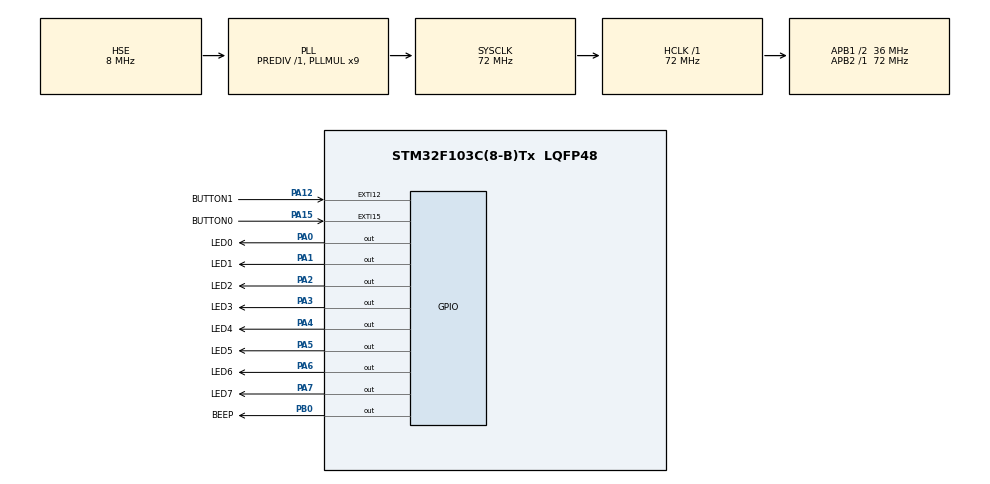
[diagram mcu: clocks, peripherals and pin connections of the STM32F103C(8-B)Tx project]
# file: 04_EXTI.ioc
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Mcu.Family=STM32F1
Mcu.Name=STM32F103C(8-B)Tx
Mcu.Package=LQFP48
NVIC.EXTI15_10_IRQn=true\:2\:0\:true\:false\:true\:true\:true\:true
NVIC.PriorityGroup=NVIC_PRIORITYGROUP_4
PA0-WKUP.GPIO_Label=LED0
PA0-WKUP.GPIO_ModeDefaultOutputPP=GPIO_MODE_OUTPUT_PP
PA0-WKUP.GPIO_PuPd=GPIO_PULLUP
PA0-WKUP.PinState=GPIO_PIN_SET
PA0-WKUP.Signal=GPIO_Output
PA1.GPIO_Label=LED1
PA1.GPIO_ModeDefaultOutputPP=GPIO_MODE_OUTPUT_PP
PA1.GPIO_PuPd=GPIO_PULLUP
PA1.GPIO_Speed=GPIO_SPEED_FREQ_LOW
PA1.PinState=GPIO_PIN_SET
PA1.Signal=GPIO_Output
PA12.GPIO_Label=BUTTON1
PA12.GPIO_ModeDefaultEXTI=GPIO_MODE_IT_FALLING
PA12.GPIO_PuPd=GPIO_PULLUP
PA12.Signal=GPXTI12
PA13.Mode=Serial_Wire
PA13.Signal=SYS_JTMS-SWDIO
PA14.Mode=Serial_Wire
PA14.Signal=SYS_JTCK-SWCLK
PA15.GPIO_Label=BUTTON0
PA15.GPIO_ModeDefaultEXTI=GPIO_MODE_IT_FALLING
PA15.GPIO_PuPd=GPIO_PULLUP
PA15.Signal=GPXTI15
PA2.GPIO_Label=LED2
PA2.GPIO_ModeDefaultOutputPP=GPIO_MODE_OUTPUT_PP
PA2.GPIO_PuPd=GPIO_PULLUP
PA2.GPIO_Speed=GPIO_SPEED_FREQ_LOW
PA2.PinState=GPIO_PIN_SET
PA2.Signal=GPIO_Output
PA3.GPIO_Label=LED3
PA3.GPIO_ModeDefaultOutputPP=GPIO_MODE_OUTPUT_PP
PA3.GPIO_PuPd=GPIO_PULLUP
PA3.GPIO_Speed=GPIO_SPEED_FREQ_LOW
PA3.PinState=GPIO_PIN_SET
PA3.Signal=GPIO_Output
PA4.GPIO_Label=LED4
PA4.GPIO_ModeDefaultOutputPP=GPIO_MODE_OUTPUT_PP
PA4.GPIO_PuPd=GPIO_PULLUP
PA4.GPIO_Speed=GPIO_SPEED_FREQ_LOW
PA4.PinState=GPIO_PIN_SET
PA4.Signal=GPIO_Output
PA5.GPIO_Label=LED5
PA5.GPIO_ModeDefaultOutputPP=GPIO_MODE_OUTPUT_PP
PA5.GPIO_PuPd=GPIO_PULLUP
PA5.GPIO_Speed=GPIO_SPEED_FREQ_LOW
PA5.PinState=GPIO_PIN_SET
PA5.Signal=GPIO_Output
PA6.GPIO_Label=LED6
PA6.GPIO_ModeDefaultOutputPP=GPIO_MODE_OUTPUT_PP
PA6.GPIO_PuPd=GPIO_PULLUP
PA6.GPIO_Speed=GPIO_SPEED_FREQ_LOW
PA6.PinState=GPIO_PIN_SET
PA6.Signal=GPIO_Output
PA7.GPIO_Label=LED7
PA7.GPIO_ModeDefaultOutputPP=GPIO_MODE_OUTPUT_PP
PA7.GPIO_PuPd=GPIO_PULLUP
PA7.GPIO_Speed=GPIO_SPEED_FREQ_LOW
PA7.PinState=GPIO_PIN_SET
PA7.Signal=GPIO_Output
PB0.GPIO_Label=BEEP
PB0.GPIO_PuPd=GPIO_PULLDOWN
PB0.Signal=GPIO_Output
PC14-OSC32_IN.Mode=LSE-External-Oscillator
PC14-OSC32_IN.Signal=RCC_OSC32_IN
PC15-OSC32_OUT.Mode=LSE-External-Oscillator
PC15-OSC32_OUT.Signal=RCC_OSC32_OUT
PD0-OSC_IN.Mode=HSE-External-Oscillator
PD0-OSC_IN.Signal=RCC_OSC_IN
PD1-OSC_OUT.Mode=HSE-External-Oscillator
PD1-OSC_OUT.Signal=RCC_OSC_OUT
ProjectManager.HeapSize=0x200
ProjectManager.StackSize=0x400
ProjectManager.TargetToolchain=STM32CubeIDE
RCC.AHBFreq_Value=72000000
RCC.APB1CLKDivider=RCC_HCLK_DIV2
RCC.APB1Freq_Value=36000000
RCC.APB1TimFreq_Value=72000000
RCC.APB2Freq_Value=72000000
RCC.APB2TimFreq_Value=72000000
RCC.HCLKFreq_Value=72000000
RCC.PLLMUL=RCC_PLL_MUL9
RCC.PLLSourceVirtual=RCC_PLLSOURCE_HSE
RCC.SYSCLKFreq_VALUE=72000000
RCC.SYSCLKSource=RCC_SYSCLKSOURCE_PLLCLK
RCC.USBFreq_Value=72000000
board=custom

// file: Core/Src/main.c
/* USER CODE BEGIN Header */
/**
  ******************************************************************************
  * @file           : main.c
  * @brief          : Main program body
  ******************************************************************************
  * @attention
  *
  * Copyright (c) 2025 STMicroelectronics.
  * All rights reserved.
  *
  * This software is licensed under terms that can be found in the LICENSE file
  * in the root directory of this software component.
  * If no LICENSE file comes with this software, it is provided AS-IS.
  *
  ******************************************************************************
  */
/* USER CODE END Header */
#include "main.h"
#include "gpio.h"

/* USER CODE BEGIN Includes */
#include "led.h"
#include "../../BSP/BEEP/beep.h"
#include "../../BSP/BUTTON/button.h"
/* USER CODE END Includes */

/* USER CODE BEGIN PD */
uint8_t button_down = 0;
/* USER CODE END PD */

void SystemClock_Config(void);

/* USER CODE BEGIN 0 */
void HAL_GPIO_EXTI_Callback(uint16_t GPIO_Pin){
	//HAL_Delay(10);
	switch(GPIO_Pin)
	{
	case BUTTON0_Pin:
		if(BUTTON0 == GPIO_PIN_RESET)
		{
			HAL_GPIO_TogglePin(LED0_GPIO_Port, LED0_Pin);
			break;
		}
	case BUTTON1_Pin:
		if(BUTTON1 == GPIO_PIN_RESET)
		{
			HAL_GPIO_TogglePin(LED1_GPIO_Port, LED1_Pin);
			break;
		}
	HAL_GPIO_TogglePin(LED2_GPIO_Port, LED2_Pin);
	}

}
/* USER CODE END 0 */

int main(void)
{

  /* MCU Configuration--------------------------------------------------------*/

  /* Reset of all peripherals, Initializes the Flash interface and the Systick. */
  HAL_Init();

  /* Configure the system clock */
  SystemClock_Config();

  /* Initialize all configured peripherals */
  MX_GPIO_Init();

  /* Infinite loop */
  while (1)
  {

    /* USER CODE BEGIN 3 */
	  //HAL_Delay(1000);
  }
  /* USER CODE END 3 */
}

void SystemClock_Config(void)
{
  RCC_OscInitTypeDef RCC_OscInitStruct = {0};
  RCC_ClkInitTypeDef RCC_ClkInitStruct = {0};

  /** Initializes the RCC Oscillators according to the specified parameters
  * in the RCC_OscInitTypeDef structure.
  */
  RCC_OscInitStruct.OscillatorType = RCC_OSCILLATORTYPE_HSE;
  RCC_OscInitStruct.HSEState = RCC_HSE_ON;
  RCC_OscInitStruct.HSEPredivValue = RCC_HSE_PREDIV_DIV1;
  RCC_OscInitStruct.HSIState = RCC_HSI_ON;
  RCC_OscInitStruct.PLL.PLLState = RCC_PLL_ON;
  RCC_OscInitStruct.PLL.PLLSource = RCC_PLLSOURCE_HSE;
  RCC_OscInitStruct.PLL.PLLMUL = RCC_PLL_MUL9;
  if (HAL_RCC_OscConfig(&RCC_OscInitStruct) != HAL_OK)
  {
    Error_Handler();
  }

  /** Initializes the CPU, AHB and APB buses clocks
  */
  RCC_ClkInitStruct.ClockType = RCC_CLOCKTYPE_HCLK|RCC_CLOCKTYPE_SYSCLK
                              |RCC_CLOCKTYPE_PCLK1|RCC_CLOCKTYPE_PCLK2;
  RCC_ClkInitStruct.SYSCLKSource = RCC_SYSCLKSOURCE_PLLCLK;
  RCC_ClkInitStruct.AHBCLKDivider = RCC_SYSCLK_DIV1;
  RCC_ClkInitStruct.APB1CLKDivider = RCC_HCLK_DIV2;
  RCC_ClkInitStruct.APB2CLKDivider = RCC_HCLK_DIV1;

  if (HAL_RCC_ClockConfig(&RCC_ClkInitStruct, FLASH_LATENCY_2) != HAL_OK)
  {
    Error_Handler();
  }
}

void Error_Handler(void)
{
  __disable_irq();
  while (1)
  {
  }
}
